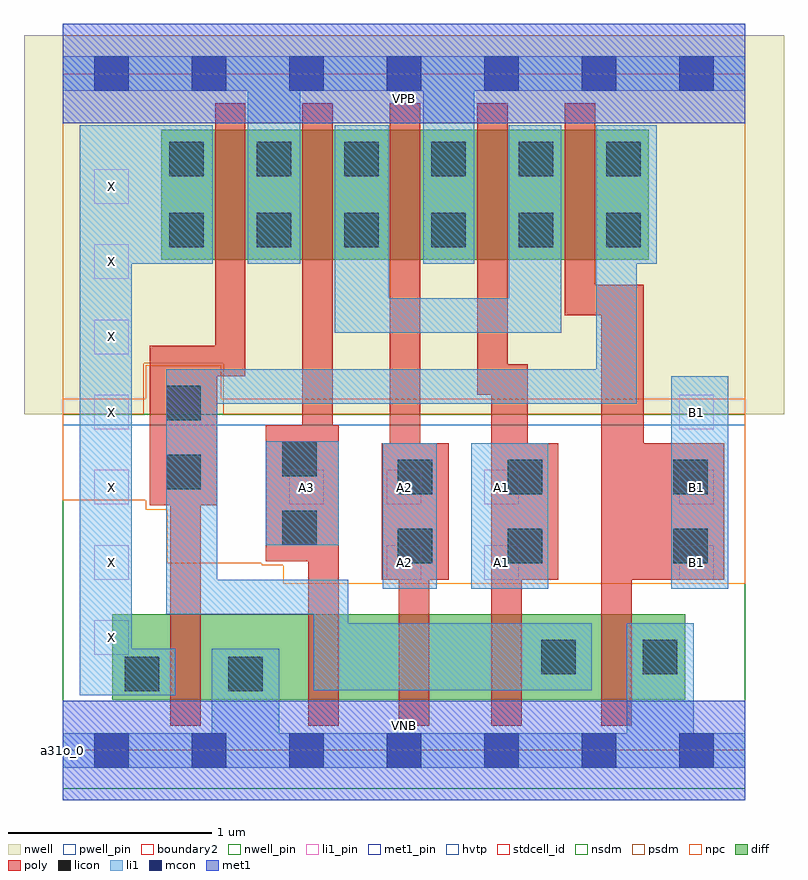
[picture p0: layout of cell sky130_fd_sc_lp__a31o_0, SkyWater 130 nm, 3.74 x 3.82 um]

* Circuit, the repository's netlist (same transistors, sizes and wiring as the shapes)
* Copyright 2020 The SkyWater PDK Authors
*
* Licensed under the Apache License, Version 2.0 (the "License");
* you may not use this file except in compliance with the License.
* You may obtain a copy of the License at
*
*     https://www.apache.org/licenses/LICENSE-2.0
*
* Unless required by applicable law or agreed to in writing, software
* distributed under the License is distributed on an "AS IS" BASIS,
* WITHOUT WARRANTIES OR CONDITIONS OF ANY KIND, either express or implied.
* See the License for the specific language governing permissions and
* limitations under the License.
*
* SPDX-License-Identifier: Apache-2.0

.SUBCKT sky130_fd_sc_lp__a31o_0 A1 A2 A3 B1 VGND VNB VPB VPWR X
*.PININFO A1:I A2:I A3:I B1:I VGND:I VNB:I VPB:I VPWR:I X:O
MMPA0 pndA A1 VPWR VPB sky130_fd_pr__pfet_01v8_hvt m=1 w=0.64U l=0.15U mult=1 sa=0.265
+ sb=0.265 sd=0.28 area=0.063 perim=1.14
MMPA1 pndA A2 VPWR VPB sky130_fd_pr__pfet_01v8_hvt m=1 w=0.64U l=0.15U mult=1 sa=0.265
+ sb=0.265 sd=0.28 area=0.063 perim=1.14
MMPA2 pndA A3 VPWR VPB sky130_fd_pr__pfet_01v8_hvt m=1 w=0.64U l=0.15U mult=1 sa=0.265
+ sb=0.265 sd=0.28 area=0.063 perim=1.14
MMPB0 y B1 pndA VPB sky130_fd_pr__pfet_01v8_hvt m=1 w=0.64U l=0.15U mult=1 sa=0.265
+ sb=0.265 sd=0.28 area=0.063 perim=1.14
MMIPX X y VPWR VPB sky130_fd_pr__pfet_01v8_hvt m=1 w=0.64U l=0.15U mult=1 sa=0.265
+ sb=0.265 sd=0.28 area=0.063 perim=1.14
MMNA0 y A1 sndA1 VNB sky130_fd_pr__nfet_01v8 m=1 w=0.42U l=0.15U mult=1 sa=0.265
+ sb=0.265 sd=0.28 area=0.063 perim=1.14
MMNA1 sndA1 A2 sndA2 VNB sky130_fd_pr__nfet_01v8 m=1 w=0.42U l=0.15U mult=1 sa=0.265
+ sb=0.265 sd=0.28 area=0.063 perim=1.14
MMNA2 sndA2 A3 VGND VNB sky130_fd_pr__nfet_01v8 m=1 w=0.42U l=0.15U mult=1 sa=0.265
+ sb=0.265 sd=0.28 area=0.063 perim=1.14
MMNB0 y B1 VGND VNB sky130_fd_pr__nfet_01v8 m=1 w=0.42U l=0.15U mult=1 sa=0.265
+ sb=0.265 sd=0.28 area=0.063 perim=1.14
MMINX X y VGND VNB sky130_fd_pr__nfet_01v8 m=1 w=0.42U l=0.15U mult=1 sa=0.265
+ sb=0.265 sd=0.28 area=0.063 perim=1.14
.ENDS sky130_fd_sc_lp__a31o_0

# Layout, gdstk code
import gdstk
lib = gdstk.Library(unit=1e-6, precision=1e-09)
def R(c, l, rs):  # rectangles x0, y0, x1, y1
    for r in rs: c.add(gdstk.rectangle(r[:2], r[2:], *l))
def A(c, l, x, y, w, h, nx, ny, dx, dy):  # array of equal rectangles
    R(c, l, [(x+i*dx, y+j*dy, x+i*dx+w, y+j*dy+h) for i in range(nx) for j in range(ny)])
def P(c, l, *ps):  # polygons
    for p in ps: c.add(gdstk.Polygon(p, *l))
nwell_pin = (64, 16)
nwell = (64, 20)
diff = (65, 20)
poly = (66, 20)
licon = (66, 44)
li1_pin = (67, 16)
li1 = (67, 20)
mcon = (67, 44)
met1_pin = (68, 16)
met1 = (68, 20)
hvtp = (78, 44)
stdcell_id = (81, 4)
nsdm = (93, 44)
psdm = (94, 20)
npc = (95, 20)
pwell_pin = (122, 16)
boundary2 = (236, 0)

sky130_fd_sc_lp__a31o_0 = lib.new_cell('sky130_fd_sc_lp__a31o_0')
R(sky130_fd_sc_lp__a31o_0, nwell_pin, [(0,3.085,3.36,3.33)])
R(sky130_fd_sc_lp__a31o_0, nwell, [(-0.19,1.655,3.55,3.52)])
R(sky130_fd_sc_lp__a31o_0, diff, [(0.245,0.25,3.065,0.67), (0.485,2.415,2.885,3.055)])
P(sky130_fd_sc_lp__a31o_0, poly, [(0.9,3.185),(0.75,3.185),(0.75,1.99),(0.43,1.99),(0.43,1.205),(0.53,1.205),(0.53,0.12),(0.68,0.12),(0.68,1.205),(0.76,1.205),(0.76,1.84),(0.9,1.84)],
  [(2.44,1.51),(2.29,1.51),(2.29,1.9),(2.19,1.9),(2.19,3.185),(2.04,3.185),(2.04,1.75),(2.11,1.75),(2.11,0.12),(2.26,0.12),(2.26,0.84),(2.44,0.84)],
  [(3.255,1.51),(2.86,1.51),(2.86,2.29),(2.62,2.29),(2.62,3.185),(2.47,3.185),(2.47,2.14),(2.65,2.14),(2.65,0.12),(2.8,0.12),(2.8,0.84),(3.255,0.84)],
  [(1.9,1.51),(1.76,1.51),(1.76,3.185),(1.61,3.185),(1.61,1.51),(1.57,1.51),(1.57,0.84),(1.655,0.84),(1.655,0.12),(1.805,0.12),(1.805,0.84),(1.9,0.84)],
  [(1.36,1.6),(1.33,1.6),(1.33,3.185),(1.18,3.185),(1.18,1.6),(1,1.6),(1,0.93),(1.21,0.93),(1.21,0.12),(1.36,0.12)])
A(sky130_fd_sc_lp__a31o_0, licon, 0.525, 2.475, 0.17, 0.17, 6, 2, 0.43, 0.35)
R(sky130_fd_sc_lp__a31o_0, licon, [(0.305,0.29,0.475,0.46), (0.815,0.29,0.985,0.46), (2.355,0.375,2.525,0.545), (2.855,0.375,3.025,0.545), (1.65,0.92,1.82,1.09), (2.19,0.92,2.36,1.09), (3.005,0.92,3.175,1.09), (1.08,1.01,1.25,1.18), (1.65,1.26,1.82,1.43), (2.19,1.26,2.36,1.43), (3.005,1.26,3.175,1.43), (0.51,1.285,0.68,1.455), (1.08,1.35,1.25,1.52), (0.51,1.625,0.68,1.795)])
A(sky130_fd_sc_lp__a31o_0, li1_pin, 0.155, 0.47, 0.17, 0.17, 1, 7, 0, 0.37)
A(sky130_fd_sc_lp__a31o_0, li1_pin, 3.035, 0.84, 0.17, 0.17, 1, 3, 0, 0.37)
A(sky130_fd_sc_lp__a31o_0, li1_pin, 1.115, 1.21, 0.17, 0.17, 3, 1, 0.48, 0)
R(sky130_fd_sc_lp__a31o_0, li1_pin, [(1.595,0.84,1.765,1.01), (2.075,0.84,2.245,1.01)])
R(sky130_fd_sc_lp__a31o_0, li1, [(1.575,0.795,1.84,1.51), (2.01,0.795,2.39,1.51), (2.995,0.795,3.275,1.84), (1,1.01,1.36,1.52)])
P(sky130_fd_sc_lp__a31o_0, li1, [(0.74,3.075),(0.085,3.075),(0.085,0.27),(0.555,0.27),(0.555,0.5),(0.34,0.5),(0.34,2.395),(0.74,2.395)],
  [(2.925,3.075),(2.625,3.075),(2.625,1.875),(0.51,1.875),(0.51,0.67),(1.235,0.67),(1.235,0.295),(2.605,0.295),(2.605,0.625),(1.405,0.625),(1.405,0.84),(0.76,0.84),(0.76,1.705),(2.825,1.705),(2.825,2.395),(2.925,2.395)],
  [(3.36,3.415),(0,3.415),(0,3.245),(0.91,3.245),(0.91,2.395),(1.17,2.395),(1.17,3.245),(1.775,3.245),(1.775,2.395),(2.025,2.395),(2.025,3.245),(3.36,3.245)],
  [(2.455,3.075),(2.195,3.075),(2.195,2.225),(1.605,2.225),(1.605,3.075),(1.34,3.075),(1.34,2.055),(2.455,2.055)],
  [(3.36,0.085),(3.105,0.085),(3.105,0.625),(2.775,0.625),(2.775,0.085),(1.065,0.085),(1.065,0.5),(0.735,0.5),(0.735,0.085),(0,0.085),(0,-0.085),(3.36,-0.085)])
A(sky130_fd_sc_lp__a31o_0, mcon, 0.155, -0.085, 0.17, 0.17, 7, 2, 0.48, 3.33)
R(sky130_fd_sc_lp__a31o_0, met1_pin, [(0,0,3.36,0.245), (0,3.085,3.36,3.33)])
R(sky130_fd_sc_lp__a31o_0, met1, [(0,-0.245,3.36,0.245), (0,3.085,3.36,3.575)])
R(sky130_fd_sc_lp__a31o_0, hvtp, [(0,1.6,3.36,3.33)])
R(sky130_fd_sc_lp__a31o_0, stdcell_id, [(0,0,3.36,3.33)])
R(sky130_fd_sc_lp__a31o_0, nsdm, [(0,-0.19,3.36,1.655)])
P(sky130_fd_sc_lp__a31o_0, psdm, [(3.36,3.52),(0,3.52),(0,1.655),(0.4,1.655),(0.4,1.905),(0.79,1.905),(0.79,1.655),(3.36,1.655)])
P(sky130_fd_sc_lp__a31o_0, npc, [(3.36,1.73),(0.78,1.73),(0.78,1.895),(0.41,1.895),(0.41,1.73),(0,1.73),(0,1.23),(0.41,1.23),(0.41,1.185),(0.515,1.185),(0.515,0.92),(0.98,0.92),(0.98,0.91),(1.085,0.91),(1.085,0.82),(3.36,0.82)])
R(sky130_fd_sc_lp__a31o_0, pwell_pin, [(0,0,3.36,0.245)])
R(sky130_fd_sc_lp__a31o_0, boundary2, [(0,0,3.36,3.33)])
sky130_fd_sc_lp__a31o_0.add(gdstk.Label('VNB', (1.68,0.123), layer=64, texttype=59))
sky130_fd_sc_lp__a31o_0.add(gdstk.Label('VPB', (1.68,3.208), layer=64, texttype=5))
sky130_fd_sc_lp__a31o_0.add(gdstk.Label('a31o_0', (0,0), layer=83, texttype=44))
sky130_fd_sc_lp__a31o_0.add(gdstk.Label('VPWR', (1.68,3.208), layer=68, texttype=5))
sky130_fd_sc_lp__a31o_0.add(gdstk.Label('VGND', (1.68,0.123), layer=68, texttype=5))
sky130_fd_sc_lp__a31o_0.add(gdstk.Label('A1', (2.16,0.925), layer=67, texttype=5))
sky130_fd_sc_lp__a31o_0.add(gdstk.Label('A1', (2.16,1.295), layer=67, texttype=5))
sky130_fd_sc_lp__a31o_0.add(gdstk.Label('A2', (1.68,0.925), layer=67, texttype=5))
sky130_fd_sc_lp__a31o_0.add(gdstk.Label('A2', (1.68,1.295), layer=67, texttype=5))
sky130_fd_sc_lp__a31o_0.add(gdstk.Label('A3', (1.2,1.295), layer=67, texttype=5))
sky130_fd_sc_lp__a31o_0.add(gdstk.Label('B1', (3.12,0.925), layer=67, texttype=5))
sky130_fd_sc_lp__a31o_0.add(gdstk.Label('B1', (3.12,1.295), layer=67, texttype=5))
sky130_fd_sc_lp__a31o_0.add(gdstk.Label('B1', (3.12,1.665), layer=67, texttype=5))
sky130_fd_sc_lp__a31o_0.add(gdstk.Label('X', (0.24,0.555), layer=67, texttype=5))
sky130_fd_sc_lp__a31o_0.add(gdstk.Label('X', (0.24,0.925), layer=67, texttype=5))
sky130_fd_sc_lp__a31o_0.add(gdstk.Label('X', (0.24,1.295), layer=67, texttype=5))
sky130_fd_sc_lp__a31o_0.add(gdstk.Label('X', (0.24,1.665), layer=67, texttype=5))
sky130_fd_sc_lp__a31o_0.add(gdstk.Label('X', (0.24,2.035), layer=67, texttype=5))
sky130_fd_sc_lp__a31o_0.add(gdstk.Label('X', (0.24,2.405), layer=67, texttype=5))
sky130_fd_sc_lp__a31o_0.add(gdstk.Label('X', (0.24,2.775), layer=67, texttype=5))

lib.write_gds('sky130_fd_sc_lp__a31o_0.gds')
